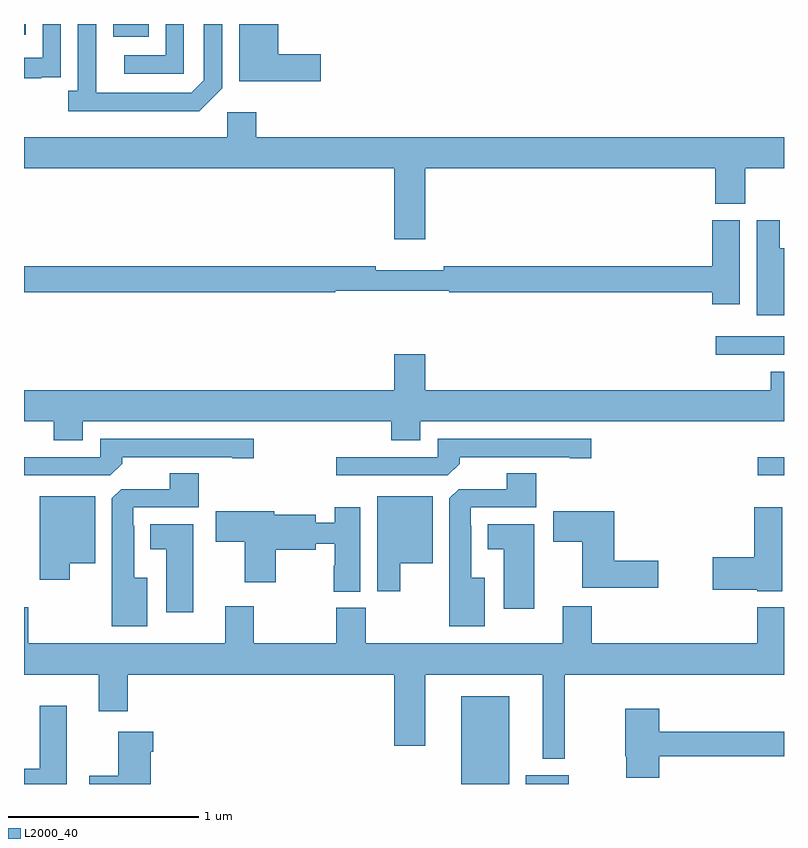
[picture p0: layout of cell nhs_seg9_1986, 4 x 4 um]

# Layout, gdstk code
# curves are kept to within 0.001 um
import gdstk
lib = gdstk.Library(unit=1e-6, precision=1e-09)
def R(c, l, rs):  # rectangles x0, y0, x1, y1
    for r in rs: c.add(gdstk.rectangle(r[:2], r[2:], *l))
def P(c, l, *ps):  # polygons
    for p in ps: c.add(gdstk.Polygon(p, *l))
L2000_40 = (2000, 40)

nhs_seg9_1986 = lib.new_cell('nhs_seg9_1986')
R(nhs_seg9_1986, L2000_40, [(225.302,1206.5,225.553,1206.961), (225.641,1206.5,225.868,1206.547), (226.863,1208.124,227,1208.22), (226.641,1208.76,227,1208.856), (223.469,1210.433,223.657,1210.5), (223,1210.443,223.009,1210.5)])
P(nhs_seg9_1986, L2000_40, [(224.043,1210.161),(224.043,1210.5),(223.947,1210.5),(223.947,1210.203),(223.881,1210.137),(223.381,1210.137),(223.38,1210.5),(223.284,1210.5),(223.284,1210.15),(223.233,1210.15),(223.233,1210.04),(223.922,1210.04)],
  [(223.842,1210.5),(223.746,1210.5),(223.746,1210.335),(223.527,1210.335),(223.527,1210.239),(223.842,1210.239)],
  [(223.091,1210.221),(223.193,1210.221),(223.193,1210.33),(223.194,1210.33),(223.194,1210.5),(223.098,1210.5),(223.098,1210.323),(223,1210.323),(223,1210.215),(223.091,1210.215)],
  [(224.563,1210.34),(224.339,1210.34),(224.339,1210.5),(224.222,1210.5),(224.222,1210.498),(224.132,1210.498),(224.132,1210.198),(224.563,1210.198)],
  [(225.112,1209.74),(226.637,1209.74),(226.637,1209.553),(226.797,1209.553),(226.797,1209.74),(227,1209.74),(227,1209.904),(224.222,1209.904),(224.222,1210.036),(224.07,1210.036),(224.07,1209.904),(223,1209.904),(223,1209.74),(224.948,1209.74),(224.948,1209.366),(225.112,1209.366)],
  [(226.768,1209.468),(226.622,1209.468),(226.622,1209.224),(225.208,1209.224),(225.208,1209.205),(224.852,1209.205),(224.852,1209.224),(223,1209.224),(223,1209.088),(224.638,1209.088),(224.638,1209.096),(225.238,1209.096),(225.238,1209.088),(226.622,1209.088),(226.622,1209.024),(226.768,1209.024)],
  [(227,1209.319),(226.978,1209.319),(226.978,1209.466),(226.856,1209.466),(226.856,1208.966),(227,1208.966)],
  [(223.309,1208.408),(224.933,1208.408),(224.933,1208.309),(225.085,1208.309),(225.085,1208.408),(227,1208.408),(227,1208.671),(226.931,1208.671),(226.931,1208.572),(225.112,1208.572),(225.112,1208.761),(224.948,1208.761),(224.948,1208.572),(223,1208.572),(223,1208.408),(223.157,1208.408),(223.157,1208.309),(223.309,1208.309)],
  [(225.293,1208.186),(225.293,1208.22),(225.872,1208.22),(225.872,1208.215),(225.985,1208.215),(225.985,1208.316),(225.177,1208.316),(225.177,1208.22),(224.643,1208.22),(224.643,1208.124),(225.231,1208.124)],
  [(223.517,1208.186),(223.517,1208.22),(224.096,1208.22),(224.096,1208.215),(224.209,1208.215),(224.209,1208.316),(223.401,1208.316),(223.401,1208.22),(223,1208.22),(223,1208.124),(223.455,1208.124)],
  [(225.424,1207.585),(225.355,1207.585),(225.355,1207.859),(225.351,1207.859),(225.351,1207.956),(225.695,1207.956),(225.695,1208.135),(225.542,1208.135),(225.542,1208.052),(225.288,1208.052),(225.239,1208.003),(225.239,1207.331),(225.424,1207.331)],
  [(223.648,1207.585),(223.579,1207.585),(223.579,1207.859),(223.575,1207.859),(223.575,1207.956),(223.919,1207.956),(223.919,1208.135),(223.766,1208.135),(223.766,1208.052),(223.512,1208.052),(223.463,1208.003),(223.463,1207.331),(223.648,1207.331)],
  [(224.98,1207.661),(225.151,1207.661),(225.151,1208.014),(224.858,1208.014),(224.858,1207.515),(224.98,1207.515)],
  [(223.24,1207.661),(223.375,1207.661),(223.375,1208.014),(223.082,1208.014),(223.082,1207.575),(223.24,1207.575)],
  [(224.77,1207.957),(224.636,1207.957),(224.636,1207.875),(224.536,1207.875),(224.536,1207.916),(224.317,1207.916),(224.317,1207.936),(224.01,1207.936),(224.01,1207.774),(224.162,1207.774),(224.162,1207.563),(224.325,1207.563),(224.325,1207.733),(224.536,1207.733),(224.536,1207.764),(224.636,1207.764),(224.636,1207.649),(224.629,1207.649),(224.629,1207.513),(224.77,1207.513)],
  [(226.99,1207.957),(226.844,1207.957),(226.844,1207.694),(226.626,1207.694),(226.626,1207.523),(226.86,1207.523),(226.86,1207.514),(226.99,1207.514)],
  [(226.339,1207.676),(226.106,1207.676),(226.106,1207.936),(225.786,1207.936),(225.786,1207.774),(225.938,1207.774),(225.938,1207.534),(226.339,1207.534)],
  [(223.891,1207.867),(223.664,1207.867),(223.664,1207.736),(223.748,1207.736),(223.748,1207.404),(223.891,1207.404)],
  [(225.685,1207.867),(225.44,1207.867),(225.44,1207.736),(225.524,1207.736),(225.524,1207.422),(225.685,1207.422)],
  [(225.845,1207.076),(227,1207.076),(227,1207.429),(226.859,1207.429),(226.859,1207.24),(225.989,1207.24),(225.989,1207.435),(225.836,1207.435),(225.836,1207.24),(224.799,1207.24),(224.799,1207.428),(224.644,1207.428),(224.644,1207.24),(224.208,1207.24),(224.208,1207.435),(224.06,1207.435),(224.06,1207.24),(223.023,1207.24),(223.023,1207.429),(223,1207.429),(223,1207.076),(223.394,1207.076),(223.394,1206.882),(223.547,1206.882),(223.547,1207.076),(224.948,1207.076),(224.948,1206.702),(225.112,1206.702),(225.112,1207.076),(225.731,1207.076),(225.731,1206.632),(225.845,1206.632)],
  [(223.225,1206.913),(223.082,1206.913),(223.082,1206.58),(223,1206.58),(223,1206.5),(223.225,1206.5)],
  [(226.343,1206.646),(227,1206.646),(227,1206.775),(226.343,1206.775),(226.343,1206.895),(226.165,1206.895),(226.165,1206.646),(226.17,1206.646),(226.17,1206.534),(226.343,1206.534)],
  [(223.666,1206.671),(223.679,1206.671),(223.679,1206.775),(223.496,1206.775),(223.496,1206.543),(223.344,1206.543),(223.344,1206.5),(223.666,1206.5)])

lib.write_gds('nhs_seg9_1986.gds')
